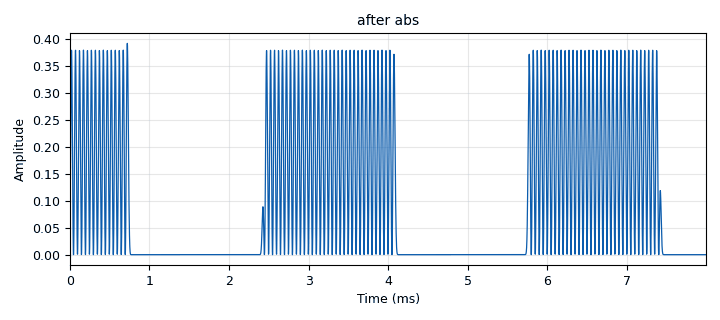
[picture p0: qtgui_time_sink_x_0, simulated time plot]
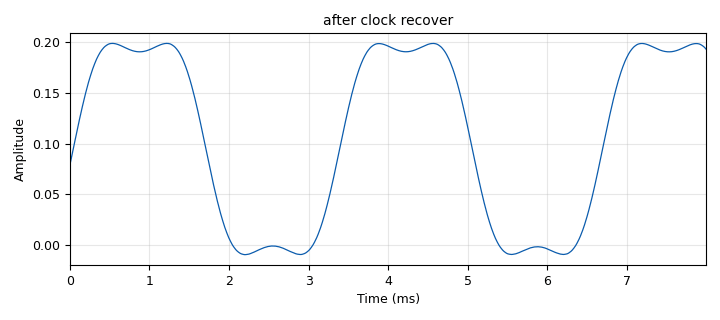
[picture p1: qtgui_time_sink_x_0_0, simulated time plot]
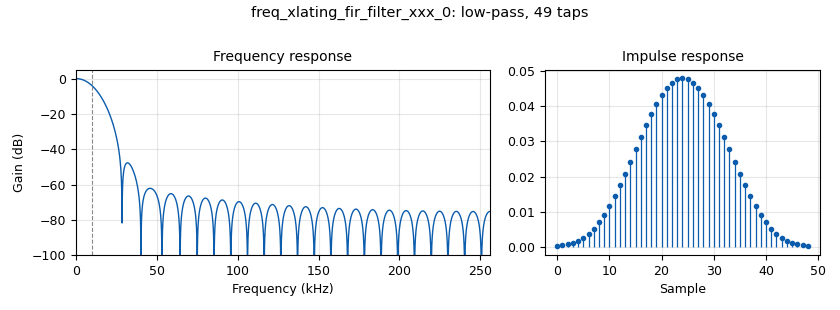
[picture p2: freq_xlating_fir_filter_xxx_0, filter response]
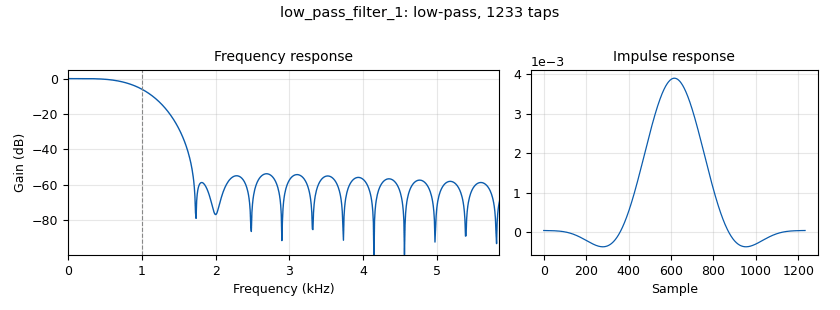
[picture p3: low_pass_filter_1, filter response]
options:
  parameters:
    author: wcc
    generate_options: qt_gui
    id: lab2_ask_demod
    output_language: python
    title: lab2_ask_demod
  states: {}

blocks:
- name: bband_freq
  id: variable_qtgui_range
  parameters:
    label: bband_freq
    orient: Qt.Horizontal
    rangeType: int
    start: '0'
    step: '1'
    stop: '1000'
    value: '300'
  states: {}
- name: carrier_freq
  id: variable_qtgui_range
  parameters:
    label: carrier_freq
    orient: Qt.Horizontal
    rangeType: int
    start: '10000'
    step: '1'
    stop: '100000'
    value: '10000'
  states: {}
- name: filter_taps
  id: variable
  parameters:
    value: firdes.low_pass(1, samp_rate, carrier_freq, 25000, firdes.WIN_HAMMING, 6.76)
  states: {}
- name: samp_rate
  id: variable
  parameters:
    value: '512000'
  states: {}
- name: analog_sig_source_x_0
  id: analog_sig_source_x
  parameters:
    amp: '1'
    freq: carrier_freq
    offset: '0'
    phase: '0'
    samp_rate: samp_rate
    type: float
    waveform: analog.GR_COS_WAVE
  states: {}
- name: analog_sig_source_x_1
  id: analog_sig_source_x
  parameters:
    amp: '1'
    freq: bband_freq
    offset: '0'
    phase: '0'
    samp_rate: samp_rate
    type: float
    waveform: analog.GR_SQR_WAVE
  states: {}
- name: blocks_complex_to_mag_squared_0
  id: blocks_complex_to_mag_squared
  parameters: {}
  states: {}
- name: blocks_float_to_complex_0
  id: blocks_float_to_complex
  parameters: {}
  states: {}
- name: blocks_multiply_xx_0
  id: blocks_multiply_xx
  parameters:
    type: float
  states: {}
- name: blocks_throttle_0
  id: blocks_throttle
  parameters:
    samples_per_second: samp_rate
    type: float
  states: {}
- name: digital_clock_recovery_mm_xx_0
  id: digital_clock_recovery_mm_xx
  parameters:
    gain_mu: '0.175'
    gain_omega: 0.25*0.175*0.175
    mu: '0.5'
    omega: '1'
    omega_relative_limit: '0.005'
    type: float
  states: {}
- name: freq_xlating_fir_filter_xxx_0
  id: freq_xlating_fir_filter_xxx
  parameters:
    center_freq: '0'
    decim: '1'
    samp_rate: samp_rate
    taps: filter_taps
    type: ccc
  states: {}
- name: low_pass_filter_1
  id: low_pass_filter
  parameters:
    cutoff_freq: '1000'
    decim: '1'
    gain: '1'
    samp_rate: samp_rate
    type: fir_filter_fff
    width: 1e3
    win: firdes.WIN_HAMMING
  states: {}
- name: qtgui_time_sink_x_0
  id: qtgui_time_sink_x
  parameters:
    autoscale: 'True'
    name: after abs
    size: '4096'
    srate: samp_rate
    type: float
  states: {}
- name: qtgui_time_sink_x_0_0
  id: qtgui_time_sink_x
  parameters:
    autoscale: 'True'
    name: after clock recover
    size: '4096'
    srate: samp_rate
    type: float
  states: {}

connections:
- [analog_sig_source_x_0, '0', blocks_multiply_xx_0, '0']
- [analog_sig_source_x_1, '0', blocks_multiply_xx_0, '1']
- [blocks_complex_to_mag_squared_0, '0', digital_clock_recovery_mm_xx_0, '0']
- [blocks_complex_to_mag_squared_0, '0', qtgui_time_sink_x_0, '0']
- [blocks_float_to_complex_0, '0', freq_xlating_fir_filter_xxx_0, '0']
- [blocks_multiply_xx_0, '0', blocks_throttle_0, '0']
- [blocks_throttle_0, '0', blocks_float_to_complex_0, '0']
- [digital_clock_recovery_mm_xx_0, '0', low_pass_filter_1, '0']
- [freq_xlating_fir_filter_xxx_0, '0', blocks_complex_to_mag_squared_0, '0']
- [low_pass_filter_1, '0', qtgui_time_sink_x_0_0, '0']

metadata:
  file_format: 1
